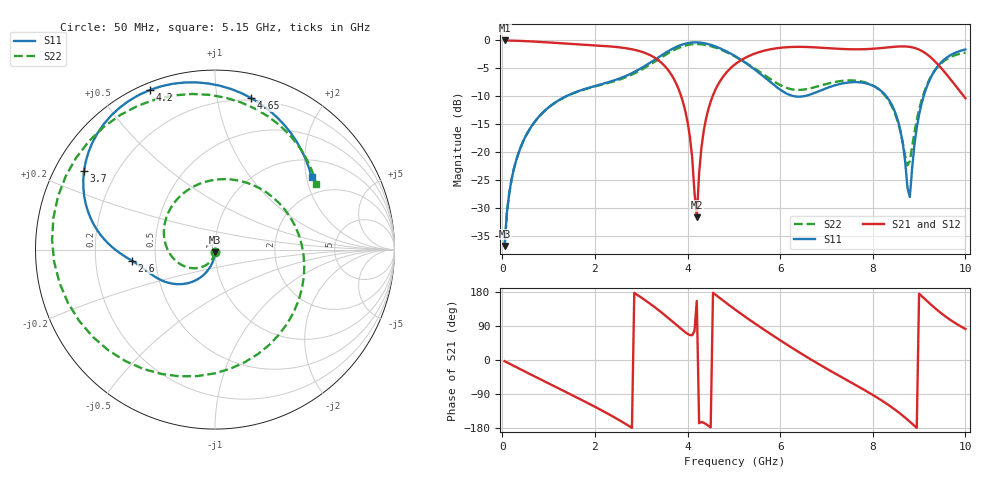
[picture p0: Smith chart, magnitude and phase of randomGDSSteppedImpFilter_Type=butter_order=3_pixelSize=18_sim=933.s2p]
! freq	dB(S11)	phase(S11)	dB(S12)	phase(S12)
!  dB(S21)	phase(S21)	dB(S22)	phase(S22)
!S-par simulation data
#  GHz  S  DB  R 50
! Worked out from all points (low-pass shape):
!   200 points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, 50 MHz to 10 GHz, reference 50 ohm
!   highest |S21| = -0.01 dB at 50 MHz (marker M1); lowest = -31.7 dB at 4.2 GHz (marker M2)
!   |S21| within 3 dB of the highest: start of sweep to 3.272 GHz; 5.272 GHz to 9.247 GHz (3.975 GHz wide, 54.8 % of centre)
!   lowest |S11| = -36.8 dB at 50 MHz (marker M3), VSWR 1.03, Z = 49.9 - j1.44 ohm
!   |S11| at or under -10 dB: start of sweep to 1.38 GHz; 6.301 GHz to 6.508 GHz (207 MHz wide, 3.23 % of centre); 8.291 GHz to 9.098 GHz (807.2 MHz wide, 9.28 % of centre)
!   |S22| runs from -36.9 to -0.7 dB; largest |S21 - S12| = 0
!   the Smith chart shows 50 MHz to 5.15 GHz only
!   S11 on the Smith chart (normalised r, x): 50 MHz: 1.00, -0.03; 2.6 GHz: 0.36, -0.06; 3.7 GHz: 0.09, +0.28; 4.2 GHz: 0.03, +0.67; 4.65 GHz: 0.18, +1.25; 5.15 GHz: 1.46, +2.15
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0.05  -36.85 -91.9  -0.01 -3.2  -0.01 -3.2  -36.87 -93.9
0.2  -24.91 -98.6  -0.03 -12.6  -0.03 -12.6  -24.93 -106.7
0.5  -17.24 -111.5  -0.12 -31.1  -0.12 -31.1  -17.27 -131.8
1.75  -8.79 -154.9  -0.75 -107.6  -0.75 -107.6  -8.85 118.4
2.6  -6.60 -172.4  -1.31 -164.1  -1.31 -164.1  -6.81 23.2
3  -4.97 179.3  -2.01 165.0  -2.01 165.0  -5.28 -31.2
3.4  -2.86 165.4  -3.75 129.1  -3.75 129.1  -3.22 -90.2
3.7  -1.39 148.9  -6.83 98.8  -6.83 98.8  -1.75 -136.6
4  -0.49 127.7  -14.58 69.1  -14.58 69.1  -0.83 176.6
4.2  -0.35 112.1  -31.70 155.7  -31.70 155.7  -0.65 146.5
4.35  -0.48 100.2  -16.19 -165.7  -16.19 -165.7  -0.75 125.0
4.65  -1.23 76.5  -8.05 167.9  -8.05 167.9  -1.43 85.9
5.05  -2.93 45.0  -4.13 131.1  -4.13 131.1  -2.99 42.2
5.15  -3.45 36.8  -3.57 122.3  -3.57 122.3  -3.46 32.8
5.85  -7.88 -31.9  -1.50 64.0  -1.50 64.0  -7.27 -14.2
6.7  -9.55 -149.8  -1.22 -1.2  -1.22 -1.2  -8.49 -33.4
7.6  -7.47 122.1  -1.59 -64.0  -1.59 -64.0  -7.19 -70.9
8.35  -10.67 62.1  -1.23 -119.6  -1.23 -119.6  -10.89 -112.6
8.8  -28.06 120.0  -1.16 -162.7  -1.16 -162.7  -21.61 -53.5
8.95  -15.62 159.6  -1.48 -179.3  -1.48 -179.3  -14.25 -26.4
9.15  -8.68 143.1  -2.37 158.0  -2.37 158.0  -8.36 -36.6
10  -1.62 66.8  -10.35 81.9  -10.35 81.9  -2.19 -107.3
